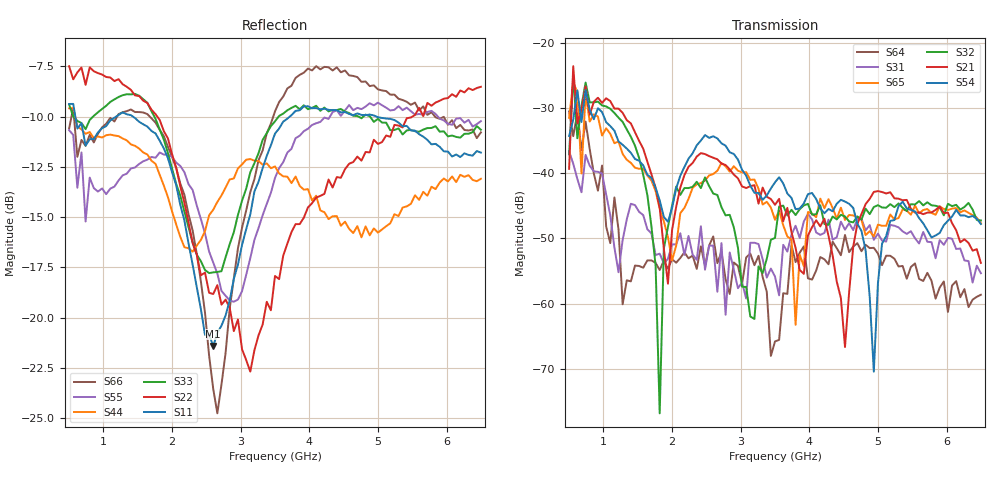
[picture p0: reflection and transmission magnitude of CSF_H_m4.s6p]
!Keysight Technologies,M9804A,MY58100912,A.14.10.03
!Date: Thursday, April 27, 2023 10:28:33
!Correction: S11(C  6-Port  )
!S12(C  6-Port  )
!S13(C  6-Port  )
!S14(C  6-Port  )
!S15(C  6-Port  )
!S16(C  6-Port  )
!S21(C  6-Port  )
!S22(C  6-Port  )
!S23(C  6-Port  )
!S24(C  6-Port  )
!S25(C  6-Port  )
!S26(C  6-Port  )
!S31(C  6-Port  )
!S32(C  6-Port  )
!S33(C  6-Port  )
!S34(C  6-Port  )
!S35(C  6-Port  )
!S36(C  6-Port  )
!S41(C  6-Port  )
!S42(C  6-Port  )
!S43(C  6-Port  )
!S44(C  6-Port  )
!S45(C  6-Port  )
!S46(C  6-Port  )
!S51(C  6-Port  )
!S52(C  6-Port  )
!S53(C  6-Port  )
!S54(C  6-Port  )
!S55(C  6-Port  )
!S56(C  6-Port  )
!S61(C  6-Port  )
!S62(C  6-Port  )
!S63(C  6-Port  )
!S64(C  6-Port  )
!S65(C  6-Port  )
!S66(C  6-Port  )
!S6P File: Measurement: :
# Hz S  RI  R 50
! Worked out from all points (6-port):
!   101 points, 500 MHz to 6.5 GHz, reference 50 ohm
!   strongest paths, dB at 500 MHz, 2 GHz, 3.5 GHz, 5 GHz, 6.5 GHz:
!     S54: -34.3, -45.4, -41.4, -56.9, -47.8
!     S21: -39.3, -48.7, -44.9, -42.7, -53.8
!     S32: -37.1, -45.0, -49.9, -44.9, -47.3
!     S65: -31.5, -53.4, -47.1, -47.9, -47.6
!     S31: -36.6, -50.9, -55.8, -49.3, -55.3
!     S64: -30.5, -53.2, -65.8, -52.3, -58.6
!   lowest |S11| = -21.4 dB at 2.6 GHz (marker M1), VSWR 1.19, Z = 42.5 + j2.26 ohm
!   |S11| at or under -10 dB: 590.7 MHz to 1.186 GHz (595.4 MHz wide, 67 % of centre); 1.429 GHz to 3.716 GHz (2.287 GHz wide, 88.9 % of centre); 4.977 GHz to end of sweep
